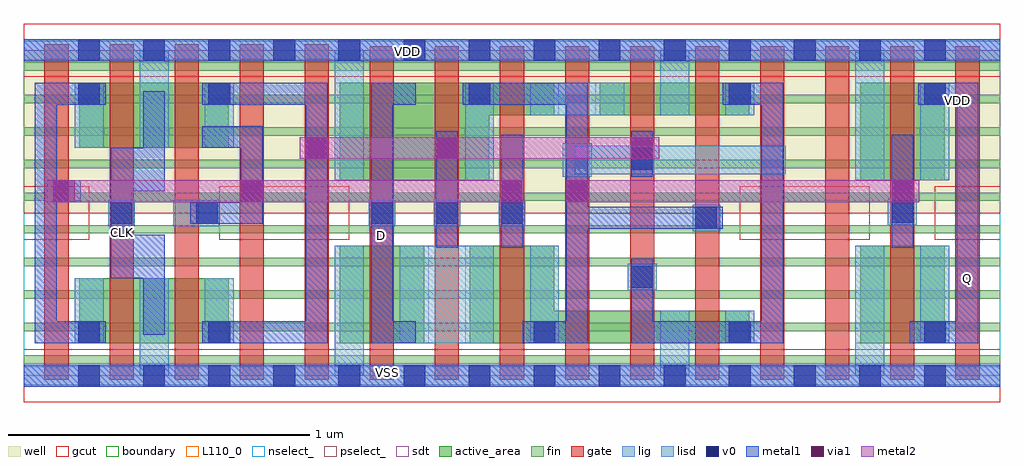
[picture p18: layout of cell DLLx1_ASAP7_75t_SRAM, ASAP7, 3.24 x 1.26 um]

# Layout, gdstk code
import gdstk
lib = gdstk.Library(unit=1e-6, precision=2.5e-10)
def R(c, l, rs):  # rectangles x0, y0, x1, y1
    for r in rs: c.add(gdstk.rectangle(r[:2], r[2:], *l))
def A(c, l, x, y, w, h, nx, ny, dx, dy):  # array of equal rectangles
    R(c, l, [(x+i*dx, y+j*dy, x+i*dx+w, y+j*dy+h) for i in range(nx) for j in range(ny)])
def P(c, l, *ps):  # polygons
    for p in ps: c.add(gdstk.Polygon(p, *l))
well = (1, 0)
fin = (2, 0)
gate = (7, 0)
gcut = (10, 0)
active_area = (11, 0)
nselect_ = (12, 0)
pselect_ = (13, 0)
lig = (16, 0)
lisd = (17, 0)
v0 = (18, 0)
metal1 = (19, 0)
metal2 = (20, 0)
via1 = (21, 0)
sdt = (88, 0)
boundary = (100, 0)
L110_0 = (110, 0)

dllx1_asap7_75t_sram = lib.new_cell('DLLx1_ASAP7_75t_SRAM')
R(dllx1_asap7_75t_sram, well, [(0,0.54,3.24,1.08)])
A(dllx1_asap7_75t_sram, fin, 0, 0.04, 3.24, 0.028, 1, 10, 0, 0.108)
A(dllx1_asap7_75t_sram, gate, 0.068, -0.014, 0.08, 1.114, 5, 1, 0.216, 0)
A(dllx1_asap7_75t_sram, gate, 1.148, -0.014, 0.08, 1.108, 10, 1, 0.216, 0)
R(dllx1_asap7_75t_sram, gcut, [(0,-0.088,3.24,0.088), (0,0.452,0.216,0.628), (0.648,0.452,1.08,0.628), (2.376,0.452,2.808,0.628), (3.024,0.452,3.24,0.628), (0,0.992,3.24,1.168)])
R(dllx1_asap7_75t_sram, active_area, [(0.184,0.108,0.68,0.324), (1.048,0.108,1.328,0.432), (2.776,0.108,3.056,0.432), (2.776,0.648,3.056,0.972), (0.184,0.756,0.68,0.972), (1.912,0.864,2.408,0.972)])
P(dllx1_asap7_75t_sram, active_area, [(1.76,0.972),(1.048,0.972),(1.048,0.648),(1.544,0.648),(1.544,0.864),(1.76,0.864)],
  [(2.408,0.216),(1.76,0.216),(1.76,0.432),(1.48,0.432),(1.48,0.108),(2.408,0.108)])
R(dllx1_asap7_75t_sram, nselect_, [(0,0,3.24,0.54)])
R(dllx1_asap7_75t_sram, pselect_, [(0,0.54,3.24,1.08)])
A(dllx1_asap7_75t_sram, lig, 1.144, 0.496, 0.088, 0.088, 3, 1, 0.216, 0)
R(dllx1_asap7_75t_sram, lig, [(0,-0.032,3.24,0.032), (2.004,0.284,2.1,0.372), (2.22,0.48,2.312,0.568), (0.28,0.496,0.368,0.584), (0.496,0.496,0.648,0.584), (2.868,0.5,2.964,0.588), (1.788,0.66,1.884,0.772), (0,1.048,3.24,1.112)])
R(dllx1_asap7_75t_sram, lisd, [(0.384,0,0.48,0.324), (1.032,0,1.128,0.432), (2.112,0,2.208,0.216), (2.76,0,2.856,0.432), (0.168,0.108,0.264,0.324), (0.6,0.108,0.696,0.324), (1.248,0.108,1.56,0.432), (1.68,0.108,1.776,0.432), (2.328,0.108,2.424,0.216), (2.976,0.108,3.072,0.432), (1.032,0.648,1.128,1.08), (1.464,0.648,1.56,0.972), (2.76,0.648,2.856,1.08), (2.976,0.648,3.072,0.972), (1.828,0.668,2.528,0.764), (0.168,0.756,0.264,0.972), (0.384,0.756,0.48,1.08), (0.6,0.756,0.696,0.972), (1.68,0.864,1.992,0.972), (2.112,0.864,2.208,1.08), (2.328,0.864,2.424,0.972)])
A(dllx1_asap7_75t_sram, v0, 0.18, -0.036, 0.072, 0.072, 14, 2, 0.216, 1.08)
A(dllx1_asap7_75t_sram, v0, 1.692, 0.108, 0.072, 0.072, 3, 1, 0.648, 0)
A(dllx1_asap7_75t_sram, v0, 1.152, 0.504, 0.072, 0.072, 3, 1, 0.216, 0)
A(dllx1_asap7_75t_sram, v0, 0.612, 0.9, 0.072, 0.072, 3, 1, 0.864, 0)
R(dllx1_asap7_75t_sram, v0, [(0.18,0.108,0.252,0.18), (0.612,0.108,0.684,0.18), (2.016,0.292,2.088,0.364), (2.228,0.488,2.3,0.56), (0.288,0.504,0.36,0.576), (0.572,0.504,0.644,0.576), (2.88,0.508,2.952,0.58), (2.016,0.684,2.088,0.756), (0.18,0.9,0.252,0.972), (2.988,0.9,3.06,0.972)])
R(dllx1_asap7_75t_sram, metal1, [(0,-0.036,3.24,0.036), (1.368,0.424,1.44,0.812), (1.584,0.424,1.656,0.8), (2.88,0.424,2.952,0.8), (2.016,0.66,2.088,0.812), (0,1.044,3.24,1.116)])
P(dllx1_asap7_75t_sram, metal1, [(2.32,0.56),(1.872,0.56),(1.872,0.972),(1.456,0.972),(1.456,0.9),(1.8,0.9),(1.8,0.18),(1.656,0.18),(1.656,0.108),(1.872,0.108),(1.872,0.488),(2.32,0.488)],
  [(2.52,0.972),(2.32,0.972),(2.32,0.9),(2.448,0.9),(2.448,0.18),(2.088,0.18),(2.088,0.388),(2.016,0.388),(2.016,0.108),(2.52,0.108)],
  [(3.168,0.972),(2.968,0.972),(2.968,0.9),(3.096,0.9),(3.096,0.18),(2.94,0.18),(2.94,0.108),(3.168,0.108)],
  [(1.008,0.972),(0.592,0.972),(0.592,0.9),(0.936,0.9),(0.936,0.18),(0.592,0.18),(0.592,0.108),(1.008,0.108)],
  [(0.792,0.828),(0.592,0.828),(0.592,0.756),(0.72,0.756),(0.72,0.576),(0.552,0.576),(0.552,0.504),(0.792,0.504)],
  [(0.468,0.468),(0.36,0.468),(0.36,0.612),(0.468,0.612),(0.468,0.944),(0.396,0.944),(0.396,0.756),(0.288,0.756),(0.288,0.324),(0.396,0.324),(0.396,0.136),(0.468,0.136)],
  [(0.272,0.18),(0.108,0.18),(0.108,0.576),(0.188,0.576),(0.188,0.648),(0.108,0.648),(0.108,0.9),(0.272,0.9),(0.272,0.972),(0.036,0.972),(0.036,0.108),(0.272,0.108)],
  [(1.3,0.18),(1.224,0.18),(1.224,0.9),(1.3,0.9),(1.3,0.972),(1.152,0.972),(1.152,0.108),(1.3,0.108)])
R(dllx1_asap7_75t_sram, metal2, [(0.076,0.576,1.656,0.648), (1.8,0.576,2.972,0.648), (0.916,0.72,2.108,0.792)])
R(dllx1_asap7_75t_sram, via1, [(0.096,0.576,0.168,0.648), (0.72,0.576,0.792,0.648), (1.584,0.576,1.656,0.648), (1.8,0.576,1.872,0.648), (2.88,0.576,2.952,0.648), (0.936,0.72,1.008,0.792), (1.368,0.72,1.44,0.792), (2.016,0.72,2.088,0.792)])
A(dllx1_asap7_75t_sram, sdt, 0.168, 0.108, 0.096, 0.216, 3, 2, 0.216, 0.648)
A(dllx1_asap7_75t_sram, sdt, 1.032, 0.108, 0.096, 0.324, 4, 1, 0.216, 0)
A(dllx1_asap7_75t_sram, sdt, 1.68, 0.864, 0.096, 0.108, 4, 1, 0.216, 0)
R(dllx1_asap7_75t_sram, sdt, [(2.112,0.108,2.208,0.216), (2.328,0.108,2.424,0.216), (2.76,0.108,2.856,0.432), (2.976,0.108,3.072,0.432), (1.032,0.648,1.128,0.972), (1.464,0.648,1.56,0.972), (2.76,0.648,2.856,0.972), (2.976,0.648,3.072,0.972)])
R(dllx1_asap7_75t_sram, boundary, [(0,0,3.24,1.08)])
R(dllx1_asap7_75t_sram, L110_0, [(0,0,3.24,1.08)])
dllx1_asap7_75t_sram.add(gdstk.Label('VSS', (3.376,0.908), layer=3, texttype=251))
dllx1_asap7_75t_sram.add(gdstk.Label('VDD', (3.1,0.912), layer=1, texttype=251))
dllx1_asap7_75t_sram.add(gdstk.Label('VSS', (1.208,0.012), layer=19, texttype=251))
dllx1_asap7_75t_sram.add(gdstk.Label('VDD', (1.272,1.076), layer=19, texttype=251))
dllx1_asap7_75t_sram.add(gdstk.Label('Q', (3.132,0.324), layer=19, texttype=251))
dllx1_asap7_75t_sram.add(gdstk.Label('D', (1.188,0.466), layer=19, texttype=251))
dllx1_asap7_75t_sram.add(gdstk.Label('CLK', (0.328,0.476), layer=19, texttype=251))

lib.write_gds('DLLx1_ASAP7_75t_SRAM.gds')
